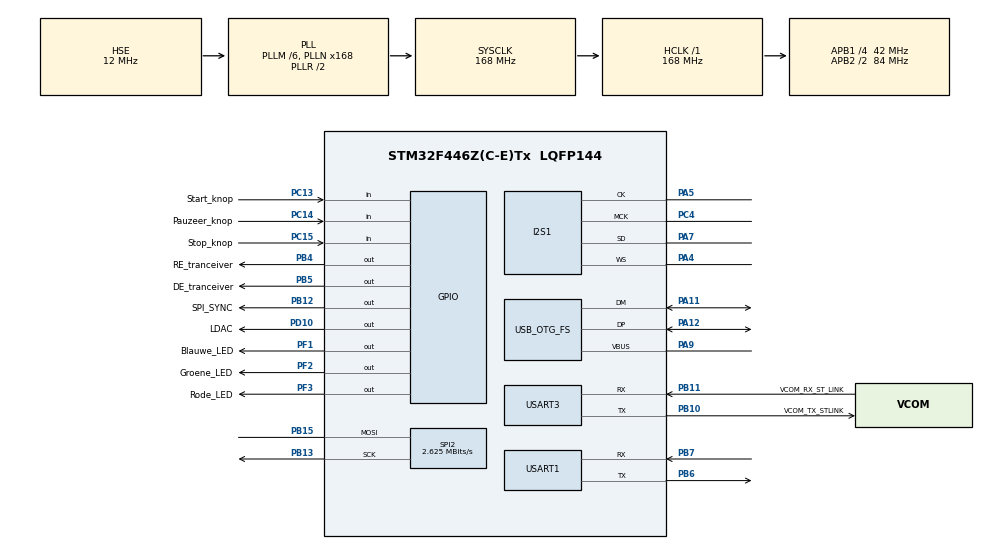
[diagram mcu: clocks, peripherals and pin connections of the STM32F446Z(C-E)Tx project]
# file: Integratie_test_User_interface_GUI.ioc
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FREERTOS.Tasks01=defaultTask,24,512,StartDefaultTask,Default,NULL,Dynamic,NULL,NULL;KnopTASK,24,128,StartKnopThread,Default,NULL,Dynamic,NULL,NULL;LedTASK,24,128,StartLEDThread,Default,NULL,Dynamic,NULL,NULL;Dac_TASK,24,128,Simulate_DAC,Default,NULL,Dynamic,NULL,NULL
FREERTOS.configUSE_NEWLIB_REENTRANT=1
I2S1.ErrorAudioFreq=1.72 %
I2S1.FullDuplexMode=I2S_FULLDUPLEXMODE_DISABLE
I2S1.Instance=SPI$Index
I2S1.RealAudioFreq=8.138 KHz
I2S1.VirtualMode=I2S_MODE_MASTER
Mcu.Family=STM32F4
Mcu.Name=STM32F446Z(C-E)Tx
Mcu.Package=LQFP144
NVIC.OTG_FS_IRQn=true\:5\:0\:false\:false\:true\:true\:false\:true\:true
NVIC.PriorityGroup=NVIC_PRIORITYGROUP_4
NVIC.TIM2_IRQn=true\:5\:0\:false\:false\:true\:true\:true\:true\:true
PA11.Mode=Device_Only
PA11.Signal=USB_OTG_FS_DM
PA12.Mode=Device_Only
PA12.Signal=USB_OTG_FS_DP
PA13.Mode=Serial_Wire
PA13.Signal=SYS_JTMS-SWDIO
PA14.Mode=Serial_Wire
PA14.Signal=SYS_JTCK-SWCLK
PA4.Mode=Half_Duplex_Master
PA4.Signal=I2S1_WS
PA5.Mode=Half_Duplex_Master
PA5.Signal=I2S1_CK
PA7.Mode=Half_Duplex_Master
PA7.Signal=I2S1_SD
PA9.Mode=Activate_VBUS
PA9.Signal=USB_OTG_FS_VBUS
PB10.GPIO_Label=VCOM_TX_STLINK
PB10.Mode=Asynchronous
PB10.Signal=USART3_TX
PB11.GPIO_Label=VCOM_RX_ST_LINK
PB11.Mode=Asynchronous
PB11.Signal=USART3_RX
PB12.GPIO_Label=SPI_SYNC
PB12.Signal=GPIO_Output
PB13.Mode=Simplex_Bidirectional_Master
PB13.Signal=SPI2_SCK
PB15.Mode=Simplex_Bidirectional_Master
PB15.Signal=SPI2_MOSI
PB4.GPIO_Label=RE_tranceiver
PB4.Signal=GPIO_Output
PB5.GPIO_Label=DE_tranceiver
PB5.Signal=GPIO_Output
PB6.Mode=Asynchronous
PB6.Signal=USART1_TX
PB7.Mode=Asynchronous
PB7.Signal=USART1_RX
PC13.GPIO_Label=Start_knop
PC13.GPIO_PuPd=GPIO_PULLUP
PC13.Signal=GPIO_Input
PC14-OSC32_IN.GPIO_Label=Pauzeer_knop
PC14-OSC32_IN.GPIO_PuPd=GPIO_PULLUP
PC14-OSC32_IN.Signal=GPIO_Input
PC15-OSC32_OUT.GPIO_Label=Stop_knop
PC15-OSC32_OUT.GPIO_PuPd=GPIO_PULLUP
PC15-OSC32_OUT.Signal=GPIO_Input
PC4.Mode=Master_Clock_Activated
PC4.Signal=I2S1_MCK
PD10.GPIO_Label=LDAC
PD10.Signal=GPIO_Output
PF1.GPIO_Label=Blauwe_LED
PF1.Signal=GPIO_Output
PF2.GPIO_Label=Groene_LED
PF2.Signal=GPIO_Output
PF3.GPIO_Label=Rode_LED
PF3.Signal=GPIO_Output
PH0-OSC_IN.Mode=HSE-External-Oscillator
PH0-OSC_IN.Signal=RCC_OSC_IN
PH1-OSC_OUT.Mode=HSE-External-Oscillator
PH1-OSC_OUT.Signal=RCC_OSC_OUT
ProjectManager.HeapSize=0x200
ProjectManager.StackSize=0x400
ProjectManager.TargetToolchain=STM32CubeIDE
RCC.AHBFreq_Value=168000000
RCC.APB1CLKDivider=RCC_HCLK_DIV4
RCC.APB1Freq_Value=42000000
RCC.APB1TimFreq_Value=84000000
RCC.APB2CLKDivider=RCC_HCLK_DIV2
RCC.APB2Freq_Value=84000000
RCC.APB2TimFreq_Value=168000000
RCC.CortexFreq_Value=168000000
RCC.HCLKFreq_Value=168000000
RCC.HSE_VALUE=12000000
RCC.PLLI2SM=6
RCC.PLLI2SN=50
RCC.PLLM=6
RCC.PLLN=168
RCC.PLLQ=7
RCC.SYSCLKFreq_VALUE=168000000
RCC.SYSCLKSource=RCC_SYSCLKSOURCE_PLLRCLK
RCC.USBFreq_Value=48000000
RCC.VCOOutputFreq_Value=336000000
SPI2.BaudRatePrescaler=SPI_BAUDRATEPRESCALER_16
SPI2.CLKPolarity=SPI_POLARITY_HIGH
SPI2.CalculateBaudRate=2.625 MBits/s
SPI2.Direction=SPI_DIRECTION_1LINE
SPI2.Mode=SPI_MODE_MASTER
SPI2.VirtualType=VM_MASTER
TIM2.Period=1749
USART1.VirtualMode=VM_ASYNC
USART3.VirtualMode=VM_ASYNC
USB_DEVICE.CLASS_NAME_FS=CDC
USB_DEVICE.PRODUCT_STRING_CDC_FS=YOUNES STM32
USB_DEVICE.VirtualMode-CDC_FS=Cdc
USB_DEVICE.VirtualModeFS=Cdc_FS
USB_OTG_FS.VirtualMode=Device_Only
VP_FREERTOS_VS_CMSIS_V2.Mode=CMSIS_V2
VP_TIM2_VS_ClockSourceINT.Mode=Internal
VP_USB_DEVICE_VS_USB_DEVICE_CDC_FS.Mode=CDC_FS
board=custom

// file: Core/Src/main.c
/* USER CODE BEGIN Header */
/**
  ******************************************************************************
  * @file           : main.c
  * @brief          : Main program body
  ******************************************************************************
  * @attention
  *
  * Copyright (c) 2024 STMicroelectronics.
  * All rights reserved.
  *
  * This software is licensed under terms that can be found in the LICENSE file
  * in the root directory of this software component.
  * If no LICENSE file comes with this software, it is provided AS-IS.
  *
  ******************************************************************************
  */
/* USER CODE END Header */
#include "main.h"
#include "cmsis_os.h"
#include "usb_device.h"

/* USER CODE BEGIN Includes */
#include <string.h>
#include <stdio.h>
#include <stdbool.h>
/* USER CODE END Includes */

/* USER CODE BEGIN PTD */
typedef enum {
	STATUS_IDLE,
    STATUS_WACHTEN_OP_INSTELLINGEN,
    STATUS_GEREED,
    STATUS_TEST_GESTART,
    STATUS_TEST_GEPAUZEERD,
	STATUS_TEST_GESTOPT,
    STATUS_TEST_VOLTOOID
} TestStatus;
/* USER CODE END PTD */

/* USER CODE BEGIN PD */
#define BLAUWE_LED_PIN GPIO_PIN_1
#define BLAUWE_LED_PORT GPIOF

#define GROENE_LED_PIN GPIO_PIN_2
#define GROENE_LED_PORT GPIOF

#define RODE_LED_PIN GPIO_PIN_3
#define RODE_LED_PORT GPIOF

#define START_KNOP_PIN GPIO_PIN_13
#define START_KNOP_PORT GPIOC

#define PAUZEER_KNOP_PIN GPIO_PIN_14
#define PAUZEER_KNOP_PORT GPIOC

#define STOP_KNOP_PIN GPIO_PIN_15
#define STOP_KNOP_PORT GPIOC

#define GPIO_PORT_VBUS GPIOA   // De GPIO-poort voor VBUS (bijv. GPIOA)
#define GPIO_PIN_VBUS  GPIO_PIN_9   // De specifieke pin (bijv. pin 9 op GPIOA)

#define BUFFER_SIZE 1024   // Vergroot de buffer naar 512 karakters
#define WAITING_FOR_SETTINGS "WACHT_OP_INSTELLINGEN"
#define READY_STATUS "GEREED"
#define TEST_RUNNING "BEZIG_MET_TEST"
#define TEST_PAUSED "GEPAUZEERD"
#define TEST_COMPLETED "VOLTOOID"
#define TEST_STOPPED "GESTOPT"
/* USER CODE END PD */

I2S_HandleTypeDef hi2s1;

SPI_HandleTypeDef hspi2;

TIM_HandleTypeDef htim2;

UART_HandleTypeDef huart1;
UART_HandleTypeDef huart3;

/* Definitions for defaultTask */
osThreadId_t defaultTaskHandle;
const osThreadAttr_t defaultTask_attributes = {
  .name = "defaultTask",
  .stack_size = 512 * 4,
  .priority = (osPriority_t) osPriorityNormal,
};
/* Definitions for KnopTASK */
osThreadId_t KnopTASKHandle;
const osThreadAttr_t KnopTASK_attributes = {
  .name = "KnopTASK",
  .stack_size = 128 * 4,
  .priority = (osPriority_t) osPriorityNormal,
};
/* Definitions for LedTASK */
osThreadId_t LedTASKHandle;
const osThreadAttr_t LedTASK_attributes = {
  .name = "LedTASK",
  .stack_size = 128 * 4,
  .priority = (osPriority_t) osPriorityNormal,
};
/* Definitions for Dac_TASK */
osThreadId_t Dac_TASKHandle;
const osThreadAttr_t Dac_TASK_attributes = {
  .name = "Dac_TASK",
  .stack_size = 128 * 4,
  .priority = (osPriority_t) osPriorityNormal,
};
/* USER CODE BEGIN PV */

char receivedData[BUFFER_SIZE];  // Buffer to store received data
uint32_t receivedLength = 0;  // Houd de lengte van de ontvangen data bij
float stroom_s1, stroom_s2, stroom_s3;

// Globale variabelen voor THD scenario 1
float thd_s1_rms;  // RMS stroom voor THD scenario 1
int thd_s1_3h, thd_s1_5h, thd_s1_7h, thd_s1_9h, thd_s1_11h, thd_s1_13h;  // Oneven harmonischen voor THD scenario 1

// Globale variabelen voor THD scenario 2
float thd_s2_rms;  // RMS stroom voor THD scenario 2
int thd_s2_3h, thd_s2_5h, thd_s2_7h, thd_s2_9h, thd_s2_11h, thd_s2_13h;  // Oneven harmonischen voor THD scenario 2

// Globale variabelen voor THD scenario 3
float thd_s3_rms;  // RMS stroom voor THD scenario 3
int thd_s3_3h, thd_s3_5h, thd_s3_7h, thd_s3_9h, thd_s3_11h, thd_s3_13h;  // Oneven harmonischen voor THD scenario 3

TestStatus huidig_status = STATUS_IDLE;
volatile bool usb_busy = false;  // Vlag om aan te geven of USB-communicatie bezig i
/* USER CODE END PV */

void SystemClock_Config(void);
static void MX_GPIO_Init(void);
static void MX_USART1_UART_Init(void);
static void MX_USART3_UART_Init(void);
static void MX_TIM2_Init(void);
static void MX_I2S1_Init(void);
static void MX_SPI2_Init(void);
void StartDefaultTask(void *argument);
void StartKnopThread(void *argument);
void StartLEDThread(void *argument);
void Simulate_DAC(void *argument);

/* USER CODE BEGIN 0 */

/*  Functies voor user interface */
/* Userinterface CODE BEGIN*/
void zet_blauw_licht_aan() {
    HAL_GPIO_WritePin(BLAUWE_LED_PORT, BLAUWE_LED_PIN, GPIO_PIN_SET);
    HAL_GPIO_WritePin(GROENE_LED_PORT, GROENE_LED_PIN, GPIO_PIN_RESET);
    HAL_GPIO_WritePin(RODE_LED_PORT, RODE_LED_PIN, GPIO_PIN_RESET);
}

void zet_groen_licht_aan() {
    HAL_GPIO_WritePin(BLAUWE_LED_PORT, BLAUWE_LED_PIN, GPIO_PIN_RESET);
    HAL_GPIO_WritePin(GROENE_LED_PORT, GROENE_LED_PIN, GPIO_PIN_SET);
    HAL_GPIO_WritePin(RODE_LED_PORT, RODE_LED_PIN, GPIO_PIN_RESET);
}

void zet_rood_licht_aan() {
    HAL_GPIO_WritePin(BLAUWE_LED_PORT, BLAUWE_LED_PIN, GPIO_PIN_RESET);
    HAL_GPIO_WritePin(GROENE_LED_PORT, GROENE_LED_PIN, GPIO_PIN_RESET);
    HAL_GPIO_WritePin(RODE_LED_PORT, RODE_LED_PIN, GPIO_PIN_SET);
}

void groen_knipperend() {
	HAL_GPIO_WritePin(BLAUWE_LED_PORT, BLAUWE_LED_PIN, GPIO_PIN_RESET);
	HAL_GPIO_WritePin(RODE_LED_PORT, RODE_LED_PIN, GPIO_PIN_RESET);
	HAL_GPIO_TogglePin(GROENE_LED_PORT, GROENE_LED_PIN);

}

void blauw_knipperend() {
    HAL_GPIO_WritePin(GROENE_LED_PORT, GROENE_LED_PIN, GPIO_PIN_RESET);
    HAL_GPIO_WritePin(RODE_LED_PORT, RODE_LED_PIN, GPIO_PIN_RESET);
    HAL_GPIO_TogglePin(BLAUWE_LED_PORT, BLAUWE_LED_PIN);
}

void update_status(TestStatus nieuwe_status) {
    huidig_status = nieuwe_status;
}

/* Userinterface CODE END*/

/* USB_GUI_ CODE BEGIN*/
void send_active_scenario_to_gui(int scenario_number) {
    char scenario_message[64];
    sprintf(scenario_message, "ACTIEF_SCENARIO=%d\n", scenario_number);
    send_status_to_gui(scenario_message);  // Verstuur het scenario

}

void send_status_to_gui(char* status_message) {
    CDC_Transmit_FS((uint8_t *)status_message, strlen(status_message));

}

// Functie om te checken of de knoppen voor starten, pauzeren of stoppen zijn ingedrukt

// Simuleer de ontvangst van instellingen en stuur statusupdates naar de GUI
void receive_settings_and_update_status(void) {
    // Wachten op instellingen
	update_status (STATUS_WACHTEN_OP_INSTELLINGEN);
//    send_status_to_gui(WAITING_FOR_SETTINGS);

    // Simuleer een vertraging voor het ontvangen van instellingen

    // Zodra instellingen zijn ontvangen, stuur de status "Gereed"

}

// Functie om de volledige testprocedure te beheren
void run_test_procedure(void) {
    // Start de testprocedure

//	send_status_to_gui(TEST_RUNNING);
//
//
//	    // Eindig met het versturen van de voltooid-status
//	    send_status_to_gui(TEST_COMPLETED);

    // Simuleer het uitvoeren van de test

}
void CheckReceivedData(void)
{
  // Simuleer het ontvangen van data (normaliter via USB/UART)
  if (receivedLength > 0) {
    parse_received_data(receivedData);  // Verwerk de ontvangen gegevens
    memset(receivedData, 0, BUFFER_SIZE);  // Clear de buffer na verwerking
    receivedLength = 0;
  }
}

// Functie om de ontvangen data te parsen
void parse_received_data(char* data)
{
    // Verwacht dataformaat: "STROOM_S1=100.000;STROOM_S2=200.000;THD_S1_RMS=50.000;..."
    // Verwacht dataformaat:
    // "STROOM_S1=100.000;STROOM_S2=200.000;STROOM_S3=300.000;THD_S1_RMS=50.000;THD_S1_3H=15;...THD_S3_13H=10;"

    sscanf(data,
           "STROOM_S1=%f;STROOM_S2=%f;STROOM_S3=%f;THD_S1_RMS=%f;THD_S1_3H=%d;THD_S1_5H=%d;"
           "THD_S1_7H=%d;THD_S1_9H=%d;THD_S1_11H=%d;THD_S1_13H=%d;"
           "THD_S2_RMS=%f;THD_S2_3H=%d;THD_S2_5H=%d;THD_S2_7H=%d;THD_S2_9H=%d;THD_S2_11H=%d;THD_S2_13H=%d;"
           "THD_S3_RMS=%f;THD_S3_3H=%d;THD_S3_5H=%d;THD_S3_7H=%d;THD_S3_9H=%d;THD_S3_11H=%d;THD_S3_13H=%d;",
           &stroom_s1, &stroom_s2, &stroom_s3,
           &thd_s1_rms, &thd_s1_3h, &thd_s1_5h, &thd_s1_7h, &thd_s1_9h, &thd_s1_11h, &thd_s1_13h,
           &thd_s2_rms, &thd_s2_3h, &thd_s2_5h, &thd_s2_7h, &thd_s2_9h, &thd_s2_11h, &thd_s2_13h,
           &thd_s3_rms, &thd_s3_3h, &thd_s3_5h, &thd_s3_7h, &thd_s3_9h, &thd_s3_11h, &thd_s3_13h);

    update_status(STATUS_GEREED);

}
/* USB_GUI_ CODE END*/

/* USER CODE END 0 */

int main(void)
{

  /* MCU Configuration--------------------------------------------------------*/

  /* Reset of all peripherals, Initializes the Flash interface and the Systick. */
  HAL_Init();

  /* Configure the system clock */
  SystemClock_Config();

  /* Initialize all configured peripherals */
  MX_GPIO_Init();
  MX_USART1_UART_Init();
  MX_USART3_UART_Init();
  MX_TIM2_Init();
  MX_I2S1_Init();
  MX_SPI2_Init();
  /* USER CODE BEGIN 2 */

  MX_USB_DEVICE_Init();

  usb_busy = true;

  while (!(HAL_GPIO_ReadPin(GPIO_PORT_VBUS, GPIO_PIN_VBUS) == GPIO_PIN_SET));
  receive_settings_and_update_status();
  HAL_Delay (3000);

//      // VBUS is present, USB can be initialized

 // simulatie tesprocedure met alle statussen

  /* USER CODE END 2 */

  /* Init scheduler */
  osKernelInitialize();

  /* Create the thread(s) */
  /* creation of defaultTask */
  defaultTaskHandle = osThreadNew(StartDefaultTask, NULL, &defaultTask_attributes);

  /* creation of KnopTASK */
  KnopTASKHandle = osThreadNew(StartKnopThread, NULL, &KnopTASK_attributes);

  /* creation of LedTASK */
  LedTASKHandle = osThreadNew(StartLEDThread, NULL, &LedTASK_attributes);

  /* creation of Dac_TASK */
  Dac_TASKHandle = osThreadNew(Simulate_DAC, NULL, &Dac_TASK_attributes);

  /* Start scheduler */
  osKernelStart();
  /* We should never get here as control is now taken by the scheduler */
  /* Infinite loop */
  while (1)
  {

  }
}

void SystemClock_Config(void)
{
  RCC_OscInitTypeDef RCC_OscInitStruct = {0};
  RCC_ClkInitTypeDef RCC_ClkInitStruct = {0};

  /** Configure the main internal regulator output voltage
  */
  __HAL_RCC_PWR_CLK_ENABLE();
  __HAL_PWR_VOLTAGESCALING_CONFIG(PWR_REGULATOR_VOLTAGE_SCALE1);

  /** Initializes the RCC Oscillators according to the specified parameters
  * in the RCC_OscInitTypeDef structure.
  */
  RCC_OscInitStruct.OscillatorType = RCC_OSCILLATORTYPE_HSE;
  RCC_OscInitStruct.HSEState = RCC_HSE_ON;
  RCC_OscInitStruct.PLL.PLLState = RCC_PLL_ON;
  RCC_OscInitStruct.PLL.PLLSource = RCC_PLLSOURCE_HSE;
  RCC_OscInitStruct.PLL.PLLM = 6;
  RCC_OscInitStruct.PLL.PLLN = 168;
  RCC_OscInitStruct.PLL.PLLP = RCC_PLLP_DIV2;
  RCC_OscInitStruct.PLL.PLLQ = 7;
  RCC_OscInitStruct.PLL.PLLR = 2;
  if (HAL_RCC_OscConfig(&RCC_OscInitStruct) != HAL_OK)
  {
    Error_Handler();
  }

  /** Initializes the CPU, AHB and APB buses clocks
  */
  RCC_ClkInitStruct.ClockType = RCC_CLOCKTYPE_HCLK|RCC_CLOCKTYPE_SYSCLK
                              |RCC_CLOCKTYPE_PCLK1|RCC_CLOCKTYPE_PCLK2;
  RCC_ClkInitStruct.SYSCLKSource = RCC_SYSCLKSOURCE_PLLRCLK;
  RCC_ClkInitStruct.AHBCLKDivider = RCC_SYSCLK_DIV1;
  RCC_ClkInitStruct.APB1CLKDivider = RCC_HCLK_DIV4;
  RCC_ClkInitStruct.APB2CLKDivider = RCC_HCLK_DIV2;

  if (HAL_RCC_ClockConfig(&RCC_ClkInitStruct, FLASH_LATENCY_5) != HAL_OK)
  {
    Error_Handler();
  }
}

static void MX_I2S1_Init(void)
{

  hi2s1.Instance = SPI1;
  hi2s1.Init.Mode = I2S_MODE_MASTER_TX;
  hi2s1.Init.Standard = I2S_STANDARD_PHILIPS;
  hi2s1.Init.DataFormat = I2S_DATAFORMAT_16B;
  hi2s1.Init.MCLKOutput = I2S_MCLKOUTPUT_ENABLE;
  hi2s1.Init.AudioFreq = I2S_AUDIOFREQ_8K;
  hi2s1.Init.CPOL = I2S_CPOL_LOW;
  hi2s1.Init.ClockSource = I2S_CLOCK_PLL;
  hi2s1.Init.FullDuplexMode = I2S_FULLDUPLEXMODE_DISABLE;
  if (HAL_I2S_Init(&hi2s1) != HAL_OK)
  {
    Error_Handler();
  }

}

static void MX_SPI2_Init(void)
{

  /* SPI2 parameter configuration*/
  hspi2.Instance = SPI2;
  hspi2.Init.Mode = SPI_MODE_MASTER;
  hspi2.Init.Direction = SPI_DIRECTION_1LINE;
  hspi2.Init.DataSize = SPI_DATASIZE_8BIT;
  hspi2.Init.CLKPolarity = SPI_POLARITY_HIGH;
  hspi2.Init.CLKPhase = SPI_PHASE_1EDGE;
  hspi2.Init.NSS = SPI_NSS_SOFT;
  hspi2.Init.BaudRatePrescaler = SPI_BAUDRATEPRESCALER_16;
  hspi2.Init.FirstBit = SPI_FIRSTBIT_MSB;
  hspi2.Init.TIMode = SPI_TIMODE_DISABLE;
  hspi2.Init.CRCCalculation = SPI_CRCCALCULATION_DISABLE;
  hspi2.Init.CRCPolynomial = 10;
  if (HAL_SPI_Init(&hspi2) != HAL_OK)
  {
    Error_Handler();
  }

}

static void MX_TIM2_Init(void)
{

  TIM_ClockConfigTypeDef sClockSourceConfig = {0};
  TIM_MasterConfigTypeDef sMasterConfig = {0};

  htim2.Instance = TIM2;
  htim2.Init.Prescaler = 0;
  htim2.Init.CounterMode = TIM_COUNTERMODE_UP;
  htim2.Init.Period = 1749;
  htim2.Init.ClockDivision = TIM_CLOCKDIVISION_DIV1;
  htim2.Init.AutoReloadPreload = TIM_AUTORELOAD_PRELOAD_DISABLE;
  if (HAL_TIM_Base_Init(&htim2) != HAL_OK)
  {
    Error_Handler();
  }
  sClockSourceConfig.ClockSource = TIM_CLOCKSOURCE_INTERNAL;
  if (HAL_TIM_ConfigClockSource(&htim2, &sClockSourceConfig) != HAL_OK)
  {
    Error_Handler();
  }
  sMasterConfig.MasterOutputTrigger = TIM_TRGO_RESET;
  sMasterConfig.MasterSlaveMode = TIM_MASTERSLAVEMODE_DISABLE;
  if (HAL_TIMEx_MasterConfigSynchronization(&htim2, &sMasterConfig) != HAL_OK)
  {
    Error_Handler();
  }

}

static void MX_USART1_UART_Init(void)
{

  huart1.Instance = USART1;
  huart1.Init.BaudRate = 115200;
  huart1.Init.WordLength = UART_WORDLENGTH_8B;
  huart1.Init.StopBits = UART_STOPBITS_1;
  huart1.Init.Parity = UART_PARITY_NONE;
  huart1.Init.Mode = UART_MODE_TX_RX;
  huart1.Init.HwFlowCtl = UART_HWCONTROL_NONE;
  huart1.Init.OverSampling = UART_OVERSAMPLING_16;
  if (HAL_UART_Init(&huart1) != HAL_OK)
  {
    Error_Handler();
  }

}

static void MX_USART3_UART_Init(void)
{

  huart3.Instance = USART3;
  huart3.Init.BaudRate = 115200;
  huart3.Init.WordLength = UART_WORDLENGTH_8B;
  huart3.Init.StopBits = UART_STOPBITS_1;
  huart3.Init.Parity = UART_PARITY_NONE;
  huart3.Init.Mode = UART_MODE_TX_RX;
  huart3.Init.HwFlowCtl = UART_HWCONTROL_NONE;
  huart3.Init.OverSampling = UART_OVERSAMPLING_16;
  if (HAL_UART_Init(&huart3) != HAL_OK)
  {
    Error_Handler();
  }

}

static void MX_GPIO_Init(void)
{
  GPIO_InitTypeDef GPIO_InitStruct = {0};

  /* GPIO Ports Clock Enable */
  __HAL_RCC_GPIOC_CLK_ENABLE();
  __HAL_RCC_GPIOF_CLK_ENABLE();
  __HAL_RCC_GPIOH_CLK_ENABLE();
  __HAL_RCC_GPIOA_CLK_ENABLE();
  __HAL_RCC_GPIOB_CLK_ENABLE();
  __HAL_RCC_GPIOD_CLK_ENABLE();

  /*Configure GPIO pin Output Level */
  HAL_GPIO_WritePin(GPIOF, Blauwe_LED_Pin|Groene_LED_Pin|Rode_LED_Pin, GPIO_PIN_RESET);

  /*Configure GPIO pin Output Level */
  HAL_GPIO_WritePin(GPIOB, SPI_SYNC_Pin|RE_tranceiver_Pin|DE_tranceiver_Pin, GPIO_PIN_RESET);

  /*Configure GPIO pin Output Level */
  HAL_GPIO_WritePin(LDAC_GPIO_Port, LDAC_Pin, GPIO_PIN_RESET);

  /*Configure GPIO pins : Start_knop_Pin Pauzeer_knop_Pin Stop_knop_Pin */
  GPIO_InitStruct.Pin = Start_knop_Pin|Pauzeer_knop_Pin|Stop_knop_Pin;
  GPIO_InitStruct.Mode = GPIO_MODE_INPUT;
  GPIO_InitStruct.Pull = GPIO_PULLUP;
  HAL_GPIO_Init(GPIOC, &GPIO_InitStruct);

  /*Configure GPIO pins : Blauwe_LED_Pin Groene_LED_Pin Rode_LED_Pin */
  GPIO_InitStruct.Pin = Blauwe_LED_Pin|Groene_LED_Pin|Rode_LED_Pin;
  GPIO_InitStruct.Mode = GPIO_MODE_OUTPUT_PP;
  GPIO_InitStruct.Pull = GPIO_NOPULL;
  GPIO_InitStruct.Speed = GPIO_SPEED_FREQ_LOW;
  HAL_GPIO_Init(GPIOF, &GPIO_InitStruct);

  /*Configure GPIO pins : SPI_SYNC_Pin RE_tranceiver_Pin DE_tranceiver_Pin */
  GPIO_InitStruct.Pin = SPI_SYNC_Pin|RE_tranceiver_Pin|DE_tranceiver_Pin;
  GPIO_InitStruct.Mode = GPIO_MODE_OUTPUT_PP;
  GPIO_InitStruct.Pull = GPIO_NOPULL;
  GPIO_InitStruct.Speed = GPIO_SPEED_FREQ_LOW;
  HAL_GPIO_Init(GPIOB, &GPIO_InitStruct);

  /*Configure GPIO pin : LDAC_Pin */
  GPIO_InitStruct.Pin = LDAC_Pin;
  GPIO_InitStruct.Mode = GPIO_MODE_OUTPUT_PP;
  GPIO_InitStruct.Pull = GPIO_NOPULL;
  GPIO_InitStruct.Speed = GPIO_SPEED_FREQ_LOW;
  HAL_GPIO_Init(LDAC_GPIO_Port, &GPIO_InitStruct);

}

void StartDefaultTask(void *argument)
{
  /* init code for USB_DEVICE */

  /* USER CODE BEGIN 5 */

  /* Infinite loop */
  for(;;)
  {

    osDelay(100000);
  }
  /* USER CODE END 5 */
}

void StartKnopThread(void *argument)
{
  /* USER CODE BEGIN StartKnopThread */
  /* Infinite loop */
	for(;;) {
		if (HAL_GPIO_ReadPin(START_KNOP_PORT, START_KNOP_PIN) == GPIO_PIN_RESET) {
		update_status(STATUS_TEST_GESTART);
		} else if (HAL_GPIO_ReadPin(PAUZEER_KNOP_PORT, PAUZEER_KNOP_PIN) == GPIO_PIN_RESET) {
		update_status(STATUS_TEST_GEPAUZEERD);
		} else if (HAL_GPIO_ReadPin(STOP_KNOP_PORT, STOP_KNOP_PIN) == GPIO_PIN_RESET) {
		update_status(STATUS_TEST_GESTOPT);
		}

	   osDelay(100);

	}
  /* USER CODE END StartKnopThread */
}

void StartLEDThread(void *argument)
{
  /* USER CODE BEGIN StartLEDThread */
  TestStatus vorige_status = STATUS_IDLE;  // Houdt de vorige stat
  /* Infinite loop */
    for(;;) {
    	 if (huidig_status != vorige_status) {

    	      // Zet de vlag op true om de USB-communicatie te reserveren
    		 usb_busy = true;

    	          // De status is veranderd, voer de eenmalige acties uit
    	          switch (huidig_status) {
    	              case STATUS_WACHTEN_OP_INSTELLINGEN:
    	                  send_status_to_gui(WAITING_FOR_SETTINGS);  // Verstuur slechts één keer
    	                  break;
    	              case STATUS_GEREED:
    	                  send_status_to_gui(READY_STATUS);
    	                  zet_blauw_licht_aan();
    	                  break;
    	              case STATUS_TEST_GESTART:
    	                  send_status_to_gui(TEST_RUNNING);
    	                  zet_groen_licht_aan();  // Groene LED aan, maar niet knipperend
    	                  usb_busy =false;
    	                  break;
    	              case STATUS_TEST_GEPAUZEERD:
    	                  send_status_to_gui(TEST_PAUSED);  // Verstuur status slechts één keer
    	                  // Knipperende actie wordt hieronder periodiek uitgevoerd
    	                  break;
    	              case STATUS_TEST_GESTOPT:
    	                  send_status_to_gui(TEST_STOPPED);
    	                  zet_rood_licht_aan();  // Rode LED aan
    	                  break;
    	              case STATUS_TEST_VOLTOOID:
    	                  send_status_to_gui(TEST_COMPLETED);  // Verstuur status slechts één keer
    	                  // Knipperende actie wordt hieronder periodiek uitgevoerd
    	                  break;
    	              default:
    	                  break;
    	          }

    	          // Update de vorige status na het uitvoeren van de actie
    	          vorige_status = huidig_status;
    	          usb_busy = false;

    	      }

    	      // Periodieke acties (knipperende LEDs) blijven elke 100 ms draaien, ongeacht statusverandering
    	      switch (huidig_status) {
    	          case STATUS_TEST_GEPAUZEERD:
    	              groen_knipperend();  // Groen knipperen terwijl gepauzeerd
    	              break;
    	          case STATUS_TEST_VOLTOOID:
    	              blauw_knipperend();  // Blauw knipperen als voltooid
    	              break;
    	          default:
    	              // Geen knipperende LED's in andere statussen
    	              break;
    	      }

    	      // Delay van 100 ms om knipperen te laten werken en CPU te sparen
    	      osDelay(100);
    }
  /* USER CODE END StartLEDThread */
}

void Simulate_DAC(void *argument)
{
  /* USER CODE BEGIN Simulate_DAC */
  /* Infinite loop */

  int scenario=1;
  for(;;)
  {

	    while ((huidig_status == STATUS_TEST_GESTART && usb_busy == false)  || huidig_status == STATUS_TEST_GEPAUZEERD) {
			   // Deze Delay is noodzakkelijk anders voert hij de send_status_to_gui(TEST_RUNNING);niet uit in de status thread.
	    	   osDelay(10);

			  // Stuur het actieve scenario naar de GUI
				usb_busy = true;
				send_active_scenario_to_gui(scenario);
				usb_busy = false;
				// Zet de vlag weer op false zodat andere threads de USB kunnen gebruiken

			  // Simuleer een vertraging tijdens het draaien van dit scenario
			  for (int i = 0; i < 5000; i++) { // Delay van 5 seconden
			   // Controleer tijdens de delay of de test gepauzeerd is
					if (huidig_status == STATUS_TEST_GEPAUZEERD) {
					  // Als de test gepauzeerd is, blijf in deze lus totdat de status verandert
						  while (huidig_status == STATUS_TEST_GEPAUZEERD) {
							osDelay(1); // Wacht kleine intervallen en check status continu
						  }
					}
					osDelay(1);  // Dit vervangt de HAL_Delay met osDelay
			  }

			  // Verhoog het scenario
			  scenario++;
			  if (scenario > 6) {
				// Als alle scenario's zijn afgerond, stel de status in op voltooid
				huidig_status = STATUS_TEST_VOLTOOID;
				scenario = 1;
				break;  // Breek de while-loop
			  }

		    // Eindig met het versturen van de voltooid-status

	    }

	// Kleine vertraging om CPU te besparen
	osDelay(1);
  }
  /* USER CODE END Simulate_DAC */
}

void Error_Handler(void)
{
  __disable_irq();
  while (1)
  {
  }
}
